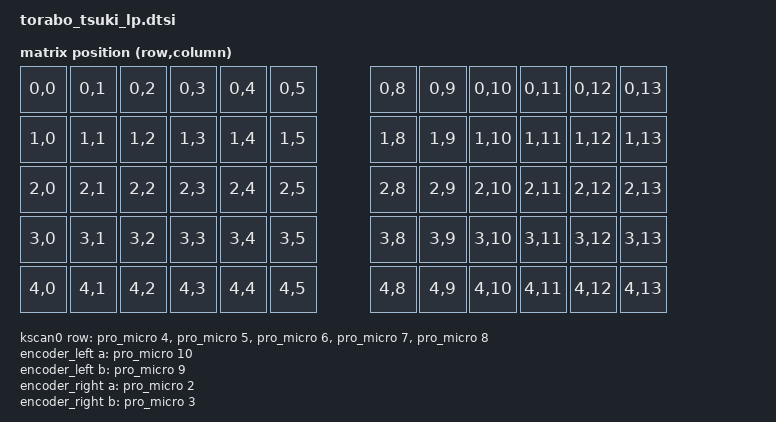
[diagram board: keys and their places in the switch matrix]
#include <zephyr/dt-bindings/gpio/nordic-nrf-gpio.h>
#include <dt-bindings/zmk/matrix_transform.h>
#include "torabo_tsuki_lp_layouts.dtsi"

/ {
    sensors: sensors {
        compatible = "zmk,keymap-sensors";
        sensors = <&encoder_left &encoder_right>;
        triggers-per-rotation = <15>;   /* Helix: SIQ-02FVS3 15クリック/回転 */
    };
};

/ {
    chosen {
        zmk,physical-layout = &physical_layout_xs;
        zmk,kscan = &kscan0;
        zmk,battery = &non_lipo_battery;
    };

    /* Helix rev3 5行版（60キー）: 行0=数字の段、行1〜3=文字、行4=親指。各行とも外側の列を含む6キー。
     * 最下段の内側1つ（左=Bの右下 RC(4,6)、右=Nの左下 RC(4,7)）は使わない。 */
    size_xs_transform: keymap_transform_3 {
        compatible = "zmk,matrix-transform";
        columns = <14>;
        rows = <5>;
        map = <
            RC(0,0) RC(0,1) RC(0,2) RC(0,3) RC(0,4) RC(0,5)          RC(0,8) RC(0,9) RC(0,10) RC(0,11) RC(0,12) RC(0,13)
            RC(1,0) RC(1,1) RC(1,2) RC(1,3) RC(1,4) RC(1,5)          RC(1,8) RC(1,9) RC(1,10) RC(1,11) RC(1,12) RC(1,13)
            RC(2,0) RC(2,1) RC(2,2) RC(2,3) RC(2,4) RC(2,5)          RC(2,8) RC(2,9) RC(2,10) RC(2,11) RC(2,12) RC(2,13)
            RC(3,0) RC(3,1) RC(3,2) RC(3,3) RC(3,4) RC(3,5)          RC(3,8) RC(3,9) RC(3,10) RC(3,11) RC(3,12) RC(3,13)
            RC(4,0) RC(4,1) RC(4,2) RC(4,3) RC(4,4) RC(4,5)          RC(4,8) RC(4,9) RC(4,10) RC(4,11) RC(4,12) RC(4,13)
        >;
    };

    /* Helix rev3 のキーマトリクス（ZMK 本体 helix シールドと同じ）。列は左右の overlay で指定 */
    kscan0: kscan {
        compatible = "zmk,kscan-gpio-matrix";
        diode-direction = "col2row";
        row-gpios
            = <&pro_micro 4 (GPIO_ACTIVE_HIGH | GPIO_PULL_DOWN)>
            , <&pro_micro 5 (GPIO_ACTIVE_HIGH | GPIO_PULL_DOWN)>
            , <&pro_micro 6 (GPIO_ACTIVE_HIGH | GPIO_PULL_DOWN)>
            , <&pro_micro 7 (GPIO_ACTIVE_HIGH | GPIO_PULL_DOWN)>
            , <&pro_micro 8 (GPIO_ACTIVE_HIGH | GPIO_PULL_DOWN)>
            ;
        wakeup-source;
    };
    
    encoder_left: encoder_left {
        compatible = "alps,ec11";
        a-gpios = <&pro_micro 10 (GPIO_ACTIVE_HIGH | GPIO_PULL_UP)>;   /* Helix: A=B6 */
        b-gpios = <&pro_micro 9 (GPIO_ACTIVE_HIGH | GPIO_PULL_UP)>;    /* Helix: B=B5 */
        steps = <60>;   /* Helix: SIQ-02FVS3 15パルス×4 */
        status = "disabled";
    };

    encoder_right: encoder_right {
        compatible = "alps,ec11";
        a-gpios = <&pro_micro 2 (GPIO_ACTIVE_HIGH | GPIO_PULL_UP)>;    /* Helix beta: A=OLEDのSDA(PD1, P0.18) */
        b-gpios = <&pro_micro 3 (GPIO_ACTIVE_HIGH | GPIO_PULL_UP)>;    /* Helix beta: B=OLEDのSCL(PD0, P0.16) */
        steps = <60>;   /* Helix: SIQ-02FVS3 15パルス×4 */
        status = "disabled";
    };

    leds {
        compatible = "gpio-leds";
        status_led: status_led {
            gpios = <&gpio1 11 GPIO_ACTIVE_HIGH>;   /* Helix: 追加IO 43 (P1.11) */
            label = "Status LED";
        };
    };

    status_led_device: status_led_device {
        compatible = "zmk,status-led";
        led = <&status_led>;
    };

    bootloader_trigger: bootloader_trigger {
        compatible = "zmk,cdc-acm-bootloader-trigger";
    };

    pointing_listener: pointing_listener {
        compatible = "zmk,input-listener";
        status = "disabled";
    };

    // central側でのみ有効化する(zmk-input-processor-scroll-inertiaはcentral限定のため)
    scroll_inertia: scroll_inertia {
        compatible = "zmk,input-processor-scroll-inertia";
        #input-processor-cells = <0>;
        status = "disabled";

        axis = <0>;
        layer = <3>;

        scale = <1>;
        scale-div = <8>;
    };

    vbatt: vbatt {
        // Disable default battery monitoring
        status = "disabled";
    };
    non_lipo_battery: non_lipo_battery {
        compatible = "zmk,non-lipo-battery";
        io-channels = <&adc 4>; 
    };
};

&pinctrl {
    spi0_default: spi0_default {
        group1 {
            psels = <NRF_PSEL(SPIM_SCK, 0, 21)>,   /* Helix: SCLK=P0.21 */
                    <NRF_PSEL(SPIM_MOSI, 0, 17)>,  /* Helix: SDIO=P0.17 */
                    <NRF_PSEL(SPIM_MISO, 0, 17)>;
        };
    };

    spi0_sleep: spi0_sleep {
        group1 {
            psels = <NRF_PSEL(SPIM_SCK, 0, 21)>,   /* Helix: SCLK=P0.21 */
                    <NRF_PSEL(SPIM_MOSI, 0, 17)>,  /* Helix: SDIO=P0.17 */
                    <NRF_PSEL(SPIM_MISO, 0, 17)>;
        };
        low-power-enable;
    };

    i2c0_default: i2c0_default {
        group1 {
            psels = <NRF_PSEL(TWIM_SDA, 0, 18)>,
                    <NRF_PSEL(TWIM_SCL, 0, 16)>;
            bias-pull-up;
        };
    };

    i2c0_sleep: i2c0_sleep {
        group1 {
            psels = <NRF_PSEL(TWIM_SDA, 0, 18)>,
                    <NRF_PSEL(TWIM_SCL, 0, 16)>;
            bias-pull-up;
            low-power-enable;
        };
    };
};

&physical_layout_xs {
    compatible = "zmk,physical-layout";
    display-name = "XS Layout";
    kscan = <&kscan0>;
    transform = <&size_xs_transform>;
};
